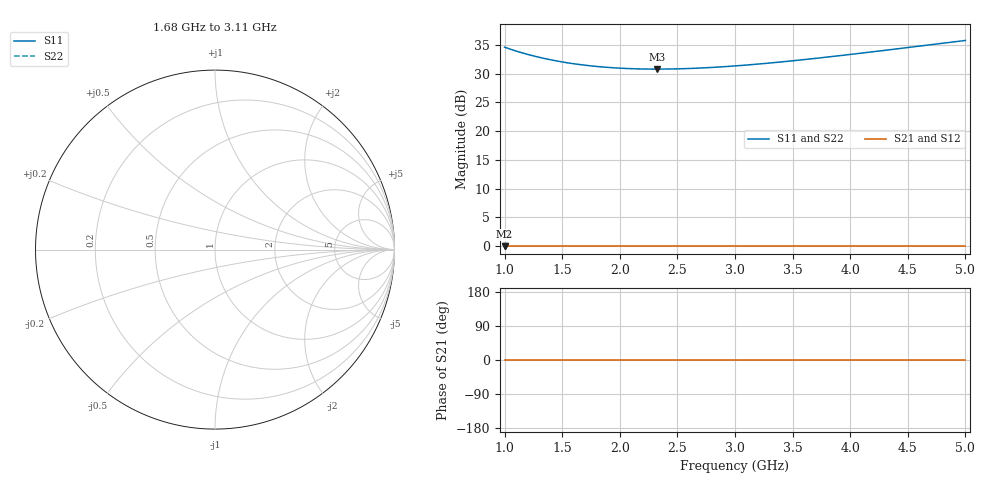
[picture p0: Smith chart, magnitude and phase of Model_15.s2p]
# GHZ S RI R 50
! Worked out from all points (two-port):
!   401 points, 1 GHz to 5 GHz, reference 50 ohm
!   highest |S21| = 0.00 dB at 1 GHz (marker M1); lowest = 0.0 dB at 1 GHz (marker M2)
!   |S21| within 3 dB of the highest: start of sweep to end of sweep
!   lowest |S11| = 30.8 dB at 2.32 GHz (marker M3)
!   |S11| at or under -10 dB: nowhere
!   |S22| runs from 30.8 to 35.8 dB; largest |S21 - S12| = 0
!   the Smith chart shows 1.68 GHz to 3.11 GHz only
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1  53.63 0  1 0  1 0  53.63 0
1.15  47.94 0  1 0  1 0  47.94 0
1.22  45.85 0  1 0  1 0  45.85 0
1.3  43.8 0  1 0  1 0  43.8 0
1.38  42.05 0  1 0  1 0  42.05 0
1.47  40.4 0  1 0  1 0  40.4 0
1.57  38.9 0  1 0  1 0  38.9 0
1.67  37.68 0  1 0  1 0  37.68 0
1.82  36.3 0  1 0  1 0  36.3 0
1.97  35.38 0  1 0  1 0  35.38 0
2.14  34.78 0  1 0  1 0  34.78 0
2.32  34.58 0  1 0  1 0  34.58 0
2.34  34.58 0  1 0  1 0  34.58 0
2.5  34.76 0  1 0  1 0  34.76 0
2.66  35.19 0  1 0  1 0  35.19 0
3  36.85 0  1 0  1 0  36.85 0
3.33  39.3 0  1 0  1 0  39.3 0
3.67  42.56 0  1 0  1 0  42.56 0
4  46.37 0  1 0  1 0  46.37 0
4.34  50.91 0  1 0  1 0  50.91 0
4.63  55.24 0  1 0  1 0  55.24 0
5  61.36 0  1 0  1 0  61.36 0
